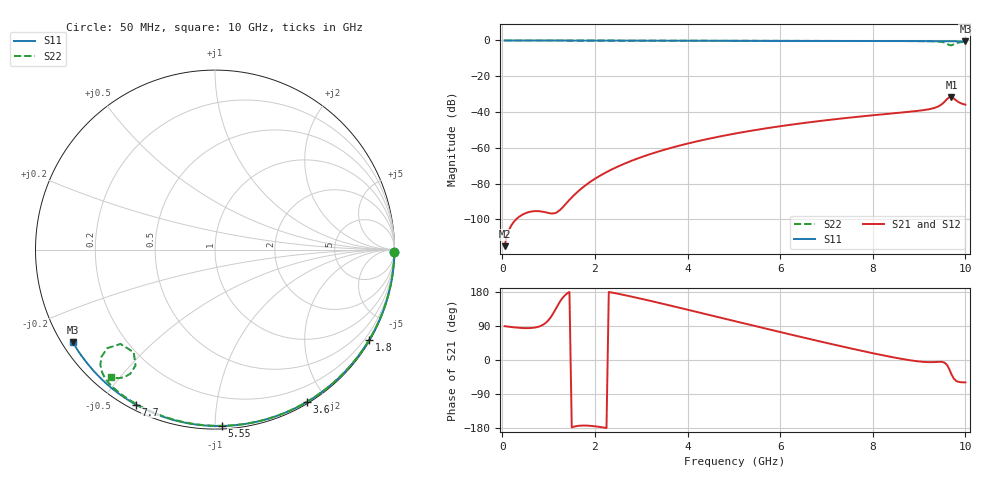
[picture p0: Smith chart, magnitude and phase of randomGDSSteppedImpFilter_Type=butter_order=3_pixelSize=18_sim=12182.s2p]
! freq	dB(S11)	phase(S11)	dB(S12)	phase(S12)
!  dB(S21)	phase(S21)	dB(S22)	phase(S22)
!S-par simulation data
#  GHz  S  DB  R 50
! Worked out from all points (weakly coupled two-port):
!   200 points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, 50 MHz to 10 GHz, reference 50 ohm
!   highest |S21| = -31.59 dB at 9.7 GHz (marker M1); lowest = -115.0 dB at 50 MHz (marker M2)
!   lowest |S11| = -0.5 dB at 10 GHz (marker M3), VSWR 35.32, Z = 1.54 - j14.8 ohm
!   |S11| at or under -10 dB: nowhere
!   |S22| runs from -2.7 to 0.0 dB; largest |S21 - S12| = 0
!   S11 on the Smith chart (normalised r, x): 50 MHz: open; 1.8 GHz: 0.03, -3.70; 3.6 GHz: 0.02, -1.77; 5.55 GHz: 0.02, -1.04; 7.7 GHz: 0.02, -0.61; 10 GHz: 0.03, -0.30
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0.05  -0.00 -0.9  -114.97 89.2  -114.97 89.2  -0.00 -0.8
0.9  -0.02 -15.3  -95.83 94.5  -95.83 94.5  -0.02 -13.8
1.75  -0.04 -29.4  -81.89 -172.9  -81.89 -172.9  -0.03 -26.7
1.8  -0.04 -30.2  -80.88 -173.0  -80.88 -173.0  -0.03 -27.4
1.85  -0.04 -31.1  -79.93 -173.3  -79.93 -173.3  -0.04 -28.2
2.15  -0.05 -36.0  -75.00 -177.4  -75.00 -177.4  -0.04 -32.6
2.55  -0.05 -42.4  -69.84 173.6  -69.84 173.6  -0.05 -38.5
3.4  -0.07 -55.9  -61.85 150.3  -61.85 150.3  -0.07 -50.8
3.6  -0.08 -59.0  -60.34 144.5  -60.34 144.5  -0.07 -53.6
5.05  -0.12 -80.6  -51.92 101.7  -51.92 101.7  -0.11 -73.6
5.55  -0.14 -87.8  -49.71 86.9  -49.71 86.9  -0.13 -80.2
6.7  -0.20 -103.7  -45.51 53.6  -45.51 53.6  -0.18 -94.9
7.7  -0.27 -117.0  -42.59 25.8  -42.59 25.8  -0.24 -107.4
8.35  -0.32 -125.5  -40.94 9.2  -40.94 9.2  -0.29 -115.5
9.2  -0.40 -136.5  -38.51 -5.6  -38.51 -5.6  -0.42 -127.5
9.4  -0.43 -139.1  -37.04 -5.0  -37.04 -5.0  -0.58 -131.8
9.5  -0.44 -140.4  -35.47 -5.0  -35.47 -5.0  -0.87 -134.9
9.6  -0.44 -141.7  -32.88 -12.6  -32.88 -12.6  -1.79 -137.6
9.65  -0.45 -142.3  -31.73 -23.7  -31.73 -23.7  -2.57 -135.0
9.7  -0.45 -143.0  -31.59 -38.0  -31.59 -38.0  -2.74 -128.4
9.8  -0.46 -144.3  -33.51 -55.1  -33.51 -55.1  -1.54 -124.3
10  -0.49 -146.9  -35.87 -59.1  -35.87 -59.1  -0.77 -129.2
